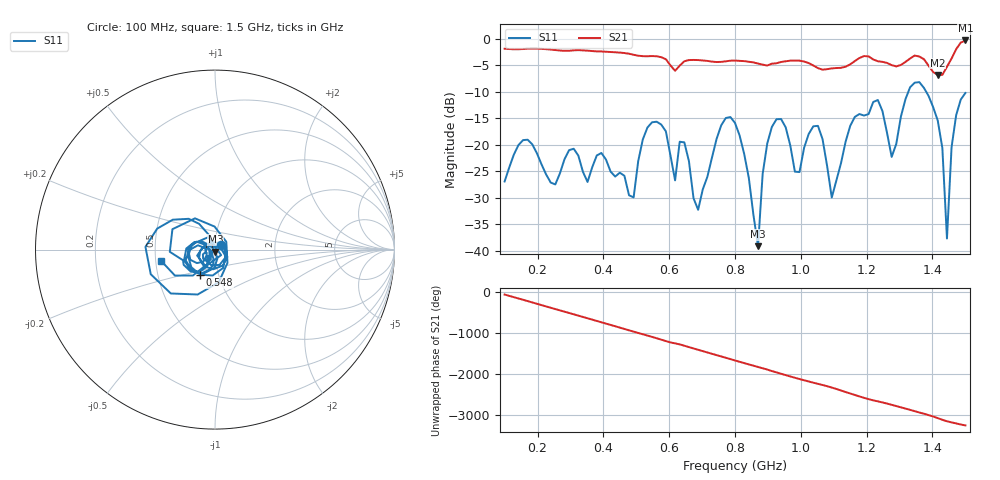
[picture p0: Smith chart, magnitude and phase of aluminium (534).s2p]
! NanoVNA-App
! Date: 2025-09-25 14:59:26
! Start: 100MHz Stop: 1,5GHz Points: 101
! S-Parameter data: F S11 S21 S12 S22
# Hz S RI R 50
!  Frequency  S11_Real  S11_Imag  S21_Real  S21_Imag  S12_Real  S12_Imag  S22_Real  S22_Imag
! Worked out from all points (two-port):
!   101 points, 100 MHz to 1.5 GHz, reference 50 ohm
!   highest |S21| = -0.37 dB at 1.5 GHz (marker M1); lowest = -6.9 dB at 1.416 GHz (marker M2)
!   |S21| within 3 dB of the highest: start of sweep to 563.5 MHz; 1.461 GHz to end of sweep (the widest 2 of 4)
!   lowest |S11| = -39.2 dB at 870 MHz (marker M3), VSWR 1.02, Z = 50.2 - j1.08 ohm
!   |S11| at or under -10 dB: start of sweep to 1.327 GHz; 1.38 GHz to end of sweep
!   S12 and S22 are empty: the file has one direction only
!   S11 on the Smith chart (normalised r, x): 100 MHz: 1.07, +0.06; 548 MHz: 0.82, -0.24; 1.5 GHz: 0.54, -0.07
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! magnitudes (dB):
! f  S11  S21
! 100 MHz  -27.0  -1.9
! 156 MHz  -19.2  -2.0
! 338 MHz  -25.1  -2.2
! 492 MHz  -30.0  -3.1
! 548 MHz  -15.8  -3.3
! 576 MHz  -16.2  -3.5
! 618 MHz  -26.8  -6.1
! 646 MHz  -19.6  -4.3
! 688 MHz  -32.3  -4.1
! 800 MHz  -15.9  -4.2
! 870 MHz  -39.2  -4.7
! 912 MHz  -16.7  -4.7
! 996 MHz  -25.2  -4.2
! 1.038 GHz  -16.6  -5.1
! 1.094 GHz  -30.0  -5.6
! 1.22 GHz  -12.0  -4.0
! 1.276 GHz  -22.3  -5.0
! 1.346 GHz  -8.3  -3.2
! 1.416 GHz  -15.5  -6.9
! 1.444 GHz  -37.7  -5.3
! 1.458 GHz  -20.5  -3.8
! 1.5 GHz  -10.3  -0.4
